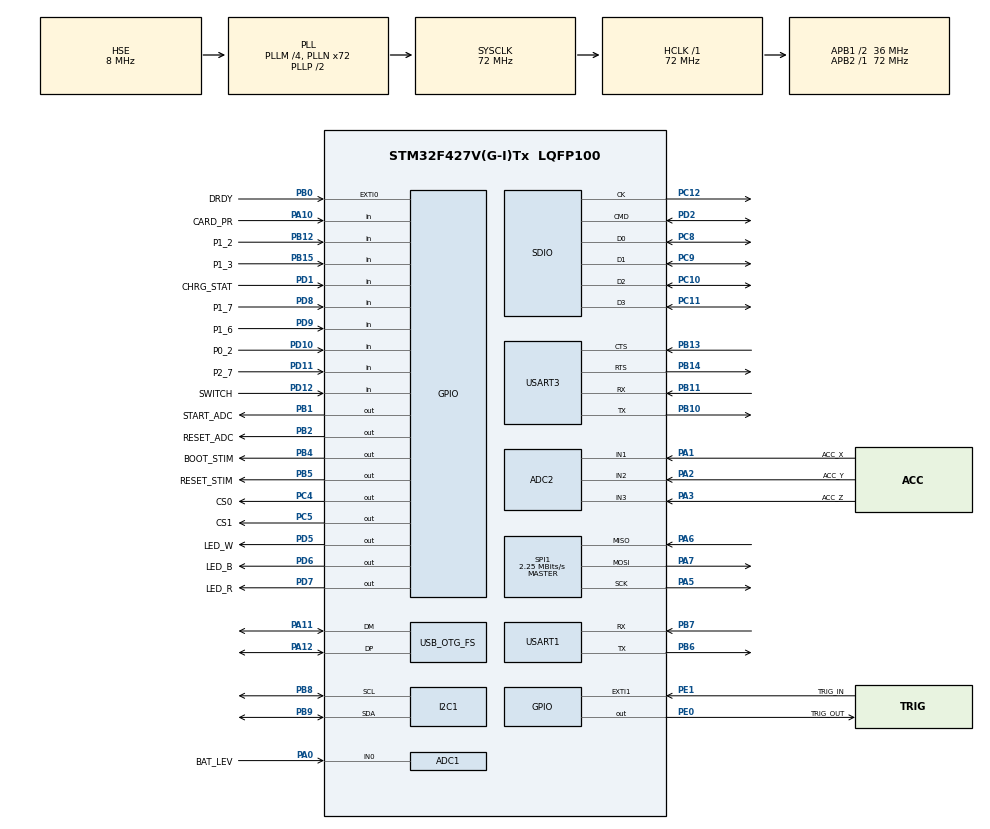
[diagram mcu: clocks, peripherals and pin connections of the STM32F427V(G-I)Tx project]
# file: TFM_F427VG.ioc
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ADC1.Channel-0\#ChannelRegularConversion=ADC_CHANNEL_0
ADC1.ClockPrescaler=ADC_CLOCK_SYNC_PCLK_DIV8
ADC1.ContinuousConvMode=DISABLE
ADC1.DMAContinuousRequests=DISABLE
ADC1.EOCSelection=ADC_EOC_SINGLE_CONV
ADC1.NbrOfConversion=1
ADC1.NbrOfConversionFlag=1
ADC1.Rank-0\#ChannelRegularConversion=1
ADC1.SamplingTime-0\#ChannelRegularConversion=ADC_SAMPLETIME_84CYCLES
ADC1.ScanConvMode=DISABLE
ADC1.master=1
ADC2.Channel-0\#ChannelRegularConversion=ADC_CHANNEL_1
ADC2.Channel-1\#ChannelRegularConversion=ADC_CHANNEL_2
ADC2.Channel-2\#ChannelRegularConversion=ADC_CHANNEL_3
ADC2.ClockPrescaler=ADC_CLOCK_SYNC_PCLK_DIV8
ADC2.DMAContinuousRequests=ENABLE
ADC2.EOCSelection=ADC_EOC_SEQ_CONV
ADC2.ExternalTrigConv=ADC_EXTERNALTRIGCONV_T2_TRGO
ADC2.NbrOfConversion=3
ADC2.NbrOfConversionFlag=1
ADC2.Rank-0\#ChannelRegularConversion=1
ADC2.Rank-1\#ChannelRegularConversion=2
ADC2.Rank-2\#ChannelRegularConversion=3
ADC2.SamplingTime-0\#ChannelRegularConversion=ADC_SAMPLETIME_480CYCLES
ADC2.SamplingTime-1\#ChannelRegularConversion=ADC_SAMPLETIME_480CYCLES
ADC2.SamplingTime-2\#ChannelRegularConversion=ADC_SAMPLETIME_480CYCLES
ADC2.ScanConvMode=ENABLE
Dma.ADC2.3.Direction=DMA_PERIPH_TO_MEMORY
Dma.ADC2.3.FIFOMode=DMA_FIFOMODE_DISABLE
Dma.ADC2.3.Instance=DMA2_Stream2
Dma.ADC2.3.MemDataAlignment=DMA_MDATAALIGN_HALFWORD
Dma.ADC2.3.MemInc=DMA_MINC_ENABLE
Dma.ADC2.3.Mode=DMA_CIRCULAR
Dma.ADC2.3.PeriphDataAlignment=DMA_PDATAALIGN_HALFWORD
Dma.ADC2.3.PeriphInc=DMA_PINC_DISABLE
Dma.ADC2.3.Priority=DMA_PRIORITY_LOW
Dma.Request0=SPI1_TX
Dma.Request1=SDIO
Dma.Request2=SPI1_RX
Dma.Request3=ADC2
Dma.SDIO.1.Direction=DMA_PERIPH_TO_MEMORY
Dma.SDIO.1.FIFOMode=DMA_FIFOMODE_ENABLE
Dma.SDIO.1.FIFOThreshold=DMA_FIFO_THRESHOLD_FULL
Dma.SDIO.1.Instance=DMA2_Stream6
Dma.SDIO.1.MemBurst=DMA_MBURST_INC4
Dma.SDIO.1.MemDataAlignment=DMA_MDATAALIGN_WORD
Dma.SDIO.1.MemInc=DMA_MINC_ENABLE
Dma.SDIO.1.Mode=DMA_PFCTRL
Dma.SDIO.1.PeriphBurst=DMA_PBURST_INC4
Dma.SDIO.1.PeriphDataAlignment=DMA_PDATAALIGN_WORD
Dma.SDIO.1.PeriphInc=DMA_PINC_DISABLE
Dma.SDIO.1.Priority=DMA_PRIORITY_LOW
Dma.SPI1_RX.2.Direction=DMA_PERIPH_TO_MEMORY
Dma.SPI1_RX.2.FIFOMode=DMA_FIFOMODE_DISABLE
Dma.SPI1_RX.2.Instance=DMA2_Stream0
Dma.SPI1_RX.2.MemDataAlignment=DMA_MDATAALIGN_BYTE
Dma.SPI1_RX.2.MemInc=DMA_MINC_ENABLE
Dma.SPI1_RX.2.Mode=DMA_NORMAL
Dma.SPI1_RX.2.PeriphDataAlignment=DMA_PDATAALIGN_BYTE
Dma.SPI1_RX.2.PeriphInc=DMA_PINC_DISABLE
Dma.SPI1_RX.2.Priority=DMA_PRIORITY_LOW
Dma.SPI1_TX.0.Direction=DMA_MEMORY_TO_PERIPH
Dma.SPI1_TX.0.FIFOMode=DMA_FIFOMODE_DISABLE
Dma.SPI1_TX.0.Instance=DMA2_Stream3
Dma.SPI1_TX.0.MemDataAlignment=DMA_MDATAALIGN_BYTE
Dma.SPI1_TX.0.MemInc=DMA_MINC_DISABLE
Dma.SPI1_TX.0.Mode=DMA_NORMAL
Dma.SPI1_TX.0.PeriphDataAlignment=DMA_PDATAALIGN_BYTE
Dma.SPI1_TX.0.PeriphInc=DMA_PINC_DISABLE
Dma.SPI1_TX.0.Priority=DMA_PRIORITY_LOW
FATFS.BSP.number=1
FATFS0.BSP.STBoard=false
FATFS0.BSP.api=Unknown
FATFS0.BSP.instance=PA10
FATFS0.BSP.ip=GPIO
FATFS0.BSP.mode=Input
FATFS0.BSP.name=Detect_SDIO
FATFS0.BSP.solution=PA10
Mcu.Family=STM32F4
Mcu.Name=STM32F427V(G-I)Tx
Mcu.Package=LQFP100
NVIC.DMA2_Stream0_IRQn=true\:0\:0\:false\:false\:true\:false\:true\:true
NVIC.DMA2_Stream2_IRQn=true\:0\:0\:false\:false\:true\:false\:true\:true
NVIC.DMA2_Stream3_IRQn=true\:0\:0\:false\:false\:true\:false\:true\:true
NVIC.DMA2_Stream6_IRQn=true\:0\:0\:false\:false\:true\:false\:true\:true
NVIC.EXTI0_IRQn=true\:2\:0\:true\:false\:true\:true\:true\:true
NVIC.EXTI1_IRQn=true\:0\:0\:false\:false\:true\:true\:true\:true
NVIC.OTG_FS_IRQn=true\:0\:0\:false\:false\:true\:false\:true\:true
NVIC.PriorityGroup=NVIC_PRIORITYGROUP_4
NVIC.TIM7_IRQn=true\:0\:0\:false\:false\:true\:true\:true\:true
PA0/WKUP.GPIO_Label=BAT_LEV
PA0/WKUP.Signal=ADCx_IN0
PA1.GPIO_Label=ACC_X
PA1.Signal=ADCx_IN1
PA10.GPIO_Label=CARD_PR
PA10.Signal=GPIO_Input
PA11.Mode=Device_Only
PA11.Signal=USB_OTG_FS_DM
PA12.Mode=Device_Only
PA12.Signal=USB_OTG_FS_DP
PA13.Mode=Serial_Wire
PA13.Signal=SYS_JTMS-SWDIO
PA14.Mode=Serial_Wire
PA14.Signal=SYS_JTCK-SWCLK
PA2.GPIO_Label=ACC_Y
PA2.Signal=ADCx_IN2
PA3.GPIO_Label=ACC_Z
PA3.Signal=ADCx_IN3
PA5.Mode=Full_Duplex_Master
PA5.Signal=SPI1_SCK
PA6.Mode=Full_Duplex_Master
PA6.Signal=SPI1_MISO
PA7.Mode=Full_Duplex_Master
PA7.Signal=SPI1_MOSI
PB0.GPIO_Label=DRDY
PB0.GPIO_ModeDefaultEXTI=GPIO_MODE_IT_FALLING
PB0.Signal=GPXTI0
PB1.GPIO_Label=START_ADC
PB1.Signal=GPIO_Output
PB10.Mode=Asynchronous
PB10.Signal=USART3_TX
PB11.Mode=Asynchronous
PB11.Signal=USART3_RX
PB12.GPIO_Label=P1_2
PB12.Signal=GPIO_Input
PB13.Mode=CTS_RTS
PB13.Signal=USART3_CTS
PB14.Mode=CTS_RTS
PB14.Signal=USART3_RTS
PB15.GPIO_Label=P1_3
PB15.Signal=GPIO_Input
PB2/BOOT1.GPIO_Label=RESET_ADC
PB2/BOOT1.Signal=GPIO_Output
PB4.GPIO_Label=BOOT_STIM
PB4.Signal=GPIO_Output
PB5.GPIO_Label=RESET_STIM
PB5.Signal=GPIO_Output
PB6.Mode=Asynchronous
PB6.Signal=USART1_TX
PB7.Mode=Asynchronous
PB7.Signal=USART1_RX
PB8.GPIO_Pu=GPIO_PULLUP
PB8.Mode=I2C
PB8.Signal=I2C1_SCL
PB9.GPIO_Pu=GPIO_PULLUP
PB9.Mode=I2C
PB9.Signal=I2C1_SDA
PC10.Mode=SD_4_bits_Wide_bus
PC10.Signal=SDIO_D2
PC11.Mode=SD_4_bits_Wide_bus
PC11.Signal=SDIO_D3
PC12.Mode=SD_4_bits_Wide_bus
PC12.Signal=SDIO_CK
PC14/OSC32_IN.Mode=LSE-External-Oscillator
PC14/OSC32_IN.Signal=RCC_OSC32_IN
PC15/OSC32_OUT.Mode=LSE-External-Oscillator
PC15/OSC32_OUT.Signal=RCC_OSC32_OUT
PC4.GPIO_Label=CS0
PC4.PinState=GPIO_PIN_SET
PC4.Signal=GPIO_Output
PC5.GPIO_Label=CS1
PC5.PinState=GPIO_PIN_SET
PC5.Signal=GPIO_Output
PC8.Mode=SD_4_bits_Wide_bus
PC8.Signal=SDIO_D0
PC9.Mode=SD_4_bits_Wide_bus
PC9.Signal=SDIO_D1
PD1.GPIO_Label=CHRG_STAT
PD1.Signal=GPIO_Input
PD10.GPIO_Label=P0_2
PD10.Signal=GPIO_Input
PD11.GPIO_Label=P2_7
PD11.Signal=GPIO_Input
PD12.GPIO_Label=SWITCH
PD12.Signal=GPIO_Input
PD2.Mode=SD_4_bits_Wide_bus
PD2.Signal=SDIO_CMD
PD5.GPIO_Label=LED_W
PD5.Signal=GPIO_Output
PD6.GPIO_Label=LED_B
PD6.Signal=GPIO_Output
PD7.GPIO_Label=LED_R
PD7.Signal=GPIO_Output
PD8.GPIO_Label=P1_7
PD8.Signal=GPIO_Input
PD9.GPIO_Label=P1_6
PD9.Signal=GPIO_Input
PE0.GPIO_Label=TRIG_OUT
PE0.Signal=GPIO_Output
PE1.GPIO_Label=TRIG_IN
PE1.GPIO_ModeDefaultEXTI=GPIO_MODE_IT_RISING
PE1.Signal=GPXTI1
PH0/OSC_IN.Mode=HSE-External-Oscillator
PH0/OSC_IN.Signal=RCC_OSC_IN
PH1/OSC_OUT.Mode=HSE-External-Oscillator
PH1/OSC_OUT.Signal=RCC_OSC_OUT
ProjectManager.HeapSize=0x2000
ProjectManager.StackSize=0x4000
ProjectManager.TargetToolchain=STM32CubeIDE
RCC.48MHZClocksFreq_Value=48000000
RCC.AHBFreq_Value=72000000
RCC.APB1CLKDivider=RCC_HCLK_DIV2
RCC.APB1Freq_Value=36000000
RCC.APB1TimFreq_Value=72000000
RCC.APB2Freq_Value=72000000
RCC.APB2TimFreq_Value=72000000
RCC.CortexFreq_Value=72000000
RCC.HCLKFreq_Value=72000000
RCC.HSE_VALUE=8000000
RCC.HSI_VALUE=16000000
RCC.PLLM=4
RCC.PLLN=72
RCC.PLLQ=3
RCC.SYSCLKFreq_VALUE=72000000
RCC.SYSCLKSource=RCC_SYSCLKSOURCE_PLLCLK
RCC.VCOOutputFreq_Value=144000000
SDIO.ClockDiv=3
SH.ADCx_IN0.0=ADC1_IN0,IN0
SH.ADCx_IN1.0=ADC2_IN1,IN1
SH.ADCx_IN2.0=ADC2_IN2,IN2
SH.ADCx_IN3.0=ADC2_IN3,IN3
SPI1.BaudRatePrescaler=SPI_BAUDRATEPRESCALER_32
SPI1.CLKPhase=SPI_PHASE_2EDGE
SPI1.CalculateBaudRate=2.25 MBits/s
SPI1.Direction=SPI_DIRECTION_2LINES
SPI1.Mode=SPI_MODE_MASTER
SPI1.VirtualType=VM_MASTER
STMicroelectronics.X-CUBE-ALGOBUILD.1.4.0.LibraryCcDSPOoLibraryJjDSPOoLibrary=true
TIM2.Period=9
TIM2.Prescaler=28124
TIM2.TIM_MasterOutputTrigger=TIM_TRGO_UPDATE
TIM7.AutoReloadPreload=TIM_AUTORELOAD_PRELOAD_ENABLE
TIM7.Period=249
TIM7.Prescaler=1439
USART1.VirtualMode=VM_ASYNC
USART3.VirtualMode=VM_ASYNC
USB_DEVICE.CLASS_NAME_FS=CDC
USB_DEVICE.VirtualMode-CDC_FS=Cdc
USB_DEVICE.VirtualModeFS=Cdc_FS
USB_OTG_FS.VirtualMode=Device_Only
VP_FATFS_VS_SDIO.Mode=SDIO
VP_STMicroelectronics.X-CUBE-ALGOBUILD_VS_DSPOoLibraryJjLibrary_1.4.0_1.4.0.Mode=DSPOoLibraryJjLibrary
VP_TIM2_VS_ClockSourceINT.Mode=Internal
VP_TIM7_VS_ClockSourceINT.Mode=Enable_Timer
VP_USB_DEVICE_VS_USB_DEVICE_CDC_FS.Mode=CDC_FS
board=custom

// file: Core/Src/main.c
/* USER CODE BEGIN Header */
/**
  ******************************************************************************
  * @file           : main.c
  * @brief          : Main program body
  ******************************************************************************
  * @attention
  *
  * Copyright (c) 2025 STMicroelectronics.
  * All rights reserved.
  *
  * This software is licensed under terms that can be found in the LICENSE file
  * in the root directory of this software component.
  * If no LICENSE file comes with this software, it is provided AS-IS.
  *
  ******************************************************************************
  */
/* USER CODE END Header */
#include "main.h"
#include "fatfs.h"
#include "usb_device.h"

/* USER CODE BEGIN Includes */
#include <stdio.h> //para sprintf
#include <string.h> // para strlen
#include "usbd_cdc_if.h"
#include "arm_math.h"
/* USER CODE END Includes */

/* USER CODE BEGIN PD */
#define ADC_FREQ 256UL //frecuencia de muestreo del ADC disparado por el TIMER2 (APB1/PSC_TIM2/ARR)

#define ADC_BUFFER_SIZE 6UL //tamaño del buffer de ADC-DMA, modificándolo cambio la frecuencia de procesamiento

#define PSD_TIME 1UL //Tiempo máximo durante el que puedo almacenar muestras (configurable) para hacer la PSD

#define BUFFER_SIZE (ADC_FREQ*PSD_TIME)

#define FFT_SIZE 256UL

#define SLIDING_WINDOW_SIZE 4

///////////////////////////////////////////////////////////////////////////////////////////

#define	STIM_TYPE_CH_DEF	0x10
#define	STIM_AMPLIT_DEF		0x80
#define	STIM_DURATION_DEF	0xC0

#define	POSITIVE			0x20
#define	NEGATIVE			0x40
#define	BIPHASIC			0x60

#define STIM_AMP_4mA 		8 //Consultar valores en tabla en Stimulator.c (StimEAST) o en doc EAST UART Comm protocol
#define STIM_AMP_4_5mA 		9
#define STIM_AMP_5mA 		10
#define STIM_AMP_5_5mA 		11
#define STIM_AMP_6mA 		12
#define STIM_AMP_6_5mA 		13
#define STIM_AMP_7mA 		14
#define STIM_AMP_7_5mA 		15
#define STIM_AMP_8mA 		16
#define STIM_AMP_8_5mA 		17
#define STIM_AMP_9mA 		18
#define STIM_AMP_9_5mA 		19
#define STIM_AMP_10mA 		20
#define STIM_AMP_10_5mA 	21
#define STIM_AMP_11mA 		22
#define STIM_AMP_11_5mA 	23
#define STIM_AMP_12mA 		24
#define STIM_AMP_12_5mA 	25
#define STIM_AMP_13mA 		26

#define STIM_DURATION_400US 13 //Consultar valores en tabla en Stimulator.c (StimEAST) o en doc EAST UART Comm protocol

#define	RESET_STIM 	HAL_GPIO_WritePin(RESET_STIM_GPIO_Port, RESET_STIM_Pin, 0)
#define	NO_RST_STIM HAL_GPIO_WritePin(RESET_STIM_GPIO_Port, RESET_STIM_Pin, 1)

#define CRG_STAT		HAL_GPIO_ReadPin(CHRG_STAT_GPIO_Port, CHRG_STAT_Pin)

#define	LEDB_ON		HAL_GPIO_WritePin(LED_B_GPIO_Port, LED_B_Pin, 1)
#define	LEDB_OFF	HAL_GPIO_WritePin(LED_B_GPIO_Port, LED_B_Pin, 0)

#define	LEDW_ON		HAL_GPIO_WritePin(LED_W_GPIO_Port, LED_W_Pin, 1)
#define	LEDW_OFF	HAL_GPIO_WritePin(LED_W_GPIO_Port, LED_W_Pin, 0)

#define	LEDR_ON		HAL_GPIO_WritePin(LED_R_GPIO_Port, LED_R_Pin, 1)
#define	LEDR_OFF	HAL_GPIO_WritePin(LED_R_GPIO_Port, LED_R_Pin, 0)
#define LED_RED_IS_ON	HAL_GPIO_ReadPin(LED_R_GPIO_Port, LED_R_Pin)

#define    SET_TRIG_OUT    HAL_GPIO_WritePin(TRIG_OUT_GPIO_Port, TRIG_OUT_Pin, 1)
#define    RES_TRIG_OUT    HAL_GPIO_WritePin(TRIG_OUT_GPIO_Port, TRIG_OUT_Pin, 0)

#define SWITCH			HAL_GPIO_ReadPin(SWITCH_GPIO_Port, SWITCH_Pin)

#define	READ_INPUTS_INTERVAL	100			// Interval between reads of the inputs in ms
#define	BATT_CRG_BLK_INTERVAL	500			// Blinking time when the battery is charging in ms
#define BATT_LEV_READ_INTERVAL	1000		// Interval between reads of the battery level in ms

#define	LOW_BATTERY			800

/* USER CODE END PD */

ADC_HandleTypeDef hadc1;
ADC_HandleTypeDef hadc2;
DMA_HandleTypeDef hdma_adc2;

I2C_HandleTypeDef hi2c1;

SD_HandleTypeDef hsd;
DMA_HandleTypeDef hdma_sdio;

SPI_HandleTypeDef hspi1;
DMA_HandleTypeDef hdma_spi1_tx;
DMA_HandleTypeDef hdma_spi1_rx;

TIM_HandleTypeDef htim2;
TIM_HandleTypeDef htim7;

UART_HandleTypeDef huart1;
UART_HandleTypeDef huart3;

/* USER CODE BEGIN PV */
uint16_t accel_adc_buffer[ADC_BUFFER_SIZE];

volatile uint8_t ADC_DMA_transfer_cmplt = 0;
volatile uint8_t ADC_DMA_transfer_half = 0;

float x_accel[BUFFER_SIZE];
float y_accel[BUFFER_SIZE];
float z_accel[BUFFER_SIZE];
uint16_t idx = 0;

const float vref = 3.3; // (accel Vref = 3.3 V)
const uint16_t adc_res = 4095; // (2^12 - 1)
const float zero_ref = 1.65; //(1.65 V)
const float adxl335_precission = 0.33; // (Volts/g)

//char uart_tx_buffer[160];

float32_t fft_output[FFT_SIZE];
const float freq_res = ((float)ADC_FREQ) / FFT_SIZE; // resolución en Hz
const uint16_t k_low = (uint16_t)(4.0f / freq_res + 0.5f);
const uint16_t k_high = (uint16_t)(12.0f / freq_res + 0.5f);

arm_rfft_fast_instance_f32 S_rfft; // instancia reutilizable
float32_t rfft_in[FFT_SIZE];
float32_t rfft_out[FFT_SIZE];
const float32_t hann_U = 0.375f; // Σw²/N de una ventana Hann (coeficiente de tabla)
float32_t thPSD = 0.15;   // umbral → calibrar con datos reales

float32_t energy = 0.0f;

uint8_t tremor = 0;

volatile uint8_t user_button_flag = 0;
uint32_t last_exti_time = 0;
const uint8_t debounce_delay = 50; // 50 ms de antirrebote

typedef enum { FLAT = 0, POS = 1, NEG = 2 } slope_t;
slope_t slope = FLAT, prev_slope = FLAT;

const float TH0_POS = 0.095;
const float TH0_NEG = -0.095;
float der = 0;

uint8_t stim_flag = 0;
uint8_t stim_array_info[BUFFER_SIZE] = {0}; //array para enviar por USB y comprobar que estimulo como quiero

///////////////////////////////////////////////////////////////////////////////////////////////

const uint8_t StimType = BIPHASIC;		// Stimulation type (positive, negative or biphasic)

const uint8_t StimAmp_aux[2] = {STIM_AMP_6_5mA, STIM_AMP_5_5mA}; //0 - 20 mA
uint8_t StimAmp[2] = {0, 0}; //StimAmp[0] = EXT StimAmp[1] = FLEX

const uint8_t StimDur = STIM_DURATION_400US;

uint8_t		Time2ReadInputs = 0;		// Flag, is it time to read the inputs?
uint8_t		Time2ReadBatLev	= 0;		// Flag, is it time to read the battery level?
uint8_t 	BatteryCharging = 0;		// Flag, the battery is recharging
uint8_t		LowBattery = 0;				// Flag, the battery is low

uint32_t	ADConv;		// Result of ADC1 conversion (battery)

/* USER CODE END PV */

void SystemClock_Config(void);
static void MX_GPIO_Init(void);
static void MX_DMA_Init(void);
static void MX_I2C1_Init(void);
static void MX_SDIO_SD_Init(void);
static void MX_SPI1_Init(void);
static void MX_USART1_UART_Init(void);
static void MX_USART3_UART_Init(void);
static void MX_ADC1_Init(void);
static void MX_TIM7_Init(void);
static void MX_ADC2_Init(void);
static void MX_TIM2_Init(void);
/* USER CODE BEGIN PFP */
void GetAccel(void);
void CheckStim(void);
void ComputePSD(void);
void SendUSB(void);
void ReadInputs(void);
void ReadBatteryLev(void);
/* USER CODE END PFP */

int main(void)
{

  /* MCU Configuration--------------------------------------------------------*/

  /* Reset of all peripherals, Initializes the Flash interface and the Systick. */
  HAL_Init();

  /* Configure the system clock */
  SystemClock_Config();

  /* Initialize all configured peripherals */
  MX_GPIO_Init();
  MX_DMA_Init();
  MX_I2C1_Init();
  MX_SDIO_SD_Init();
  MX_SPI1_Init();
  MX_USART1_UART_Init();
  MX_USART3_UART_Init();
  MX_ADC1_Init();
  MX_TIM7_Init();
  MX_FATFS_Init();
  MX_USB_DEVICE_Init();
  MX_ADC2_Init();
  MX_TIM2_Init();
  /* USER CODE BEGIN 2 */
  //__HAL_DMA_DISABLE_IT(hdma_adc2, DMA_IT_TC); //Disable Transfer Complete interrupt for adc2
  //__HAL_DMA_DISABLE_IT(hdma_adc2, DMA_IT_HC); //Disable Half Transfer Complete interrupt for adc2

  LEDW_ON;

  NO_RST_STIM; //PB5 RESET DE LA STIM (LÓGICA NEGADA)

  HAL_TIM_Base_Start(&htim2);

  //HAL_ADC_Start(&hadc1);
  //HAL_ADC_Start_DMA(&hadc2, (uint32_t*)accel_adc_buffer, ADC_BUFFER_SIZE); //accel_adc_buffer works as a pointer to the address of the first position of the accel_adc_buffer[] array

  arm_rfft_fast_init_f32(&S_rfft, FFT_SIZE);

  /* USER CODE END 2 */

  /* Infinite loop */
  /* USER CODE BEGIN WHILE */
  while (1)
  {
	  if(user_button_flag == 1){

		  if(ADC_DMA_transfer_half == 1){

			  GetAccel();

			  if(tremor == 1){
				  CheckStim();
			  }

			  stim_array_info[idx] = stim_flag;

			  idx ++;

			  SendUSB();

			  if(idx >= BUFFER_SIZE){
				  idx = 0;
				  ComputePSD();
			  }
		  }

		  if(ADC_DMA_transfer_cmplt == 1){

			  GetAccel();

			  if(tremor == 1){
				  CheckStim();
			  }

			  stim_array_info[idx] = stim_flag;

			  idx ++;

			  SendUSB();

			  if(idx >= BUFFER_SIZE){
				  idx = 0;
				  ComputePSD();
			  }

		  }
	  }

			if(Time2ReadInputs){
				ReadInputs();
				Time2ReadInputs = 0;
			}

			if(Time2ReadBatLev){
				ReadBatteryLev();
				Time2ReadBatLev = 0;
			}

/*
			if(TrigInSet){
				// Do something when the TRIG_IN is set
				TrigInSet = 0;
			}
*/

    /* USER CODE END WHILE */

  }
}

void SystemClock_Config(void)
{
  RCC_OscInitTypeDef RCC_OscInitStruct = {0};
  RCC_ClkInitTypeDef RCC_ClkInitStruct = {0};

  /** Configure the main internal regulator output voltage
  */
  __HAL_RCC_PWR_CLK_ENABLE();
  __HAL_PWR_VOLTAGESCALING_CONFIG(PWR_REGULATOR_VOLTAGE_SCALE3);

  /** Initializes the RCC Oscillators according to the specified parameters
  * in the RCC_OscInitTypeDef structure.
  */
  RCC_OscInitStruct.OscillatorType = RCC_OSCILLATORTYPE_HSE;
  RCC_OscInitStruct.HSEState = RCC_HSE_ON;
  RCC_OscInitStruct.PLL.PLLState = RCC_PLL_ON;
  RCC_OscInitStruct.PLL.PLLSource = RCC_PLLSOURCE_HSE;
  RCC_OscInitStruct.PLL.PLLM = 4;
  RCC_OscInitStruct.PLL.PLLN = 72;
  RCC_OscInitStruct.PLL.PLLP = RCC_PLLP_DIV2;
  RCC_OscInitStruct.PLL.PLLQ = 3;
  if (HAL_RCC_OscConfig(&RCC_OscInitStruct) != HAL_OK)
  {
    Error_Handler();
  }

  /** Initializes the CPU, AHB and APB buses clocks
  */
  RCC_ClkInitStruct.ClockType = RCC_CLOCKTYPE_HCLK|RCC_CLOCKTYPE_SYSCLK
                              |RCC_CLOCKTYPE_PCLK1|RCC_CLOCKTYPE_PCLK2;
  RCC_ClkInitStruct.SYSCLKSource = RCC_SYSCLKSOURCE_PLLCLK;
  RCC_ClkInitStruct.AHBCLKDivider = RCC_SYSCLK_DIV1;
  RCC_ClkInitStruct.APB1CLKDivider = RCC_HCLK_DIV2;
  RCC_ClkInitStruct.APB2CLKDivider = RCC_HCLK_DIV1;

  if (HAL_RCC_ClockConfig(&RCC_ClkInitStruct, FLASH_LATENCY_2) != HAL_OK)
  {
    Error_Handler();
  }
}

static void MX_ADC1_Init(void)
{

  ADC_ChannelConfTypeDef sConfig = {0};

  /** Configure the global features of the ADC (Clock, Resolution, Data Alignment and number of conversion)
  */
  hadc1.Instance = ADC1;
  hadc1.Init.ClockPrescaler = ADC_CLOCK_SYNC_PCLK_DIV8;
  hadc1.Init.Resolution = ADC_RESOLUTION_12B;
  hadc1.Init.ScanConvMode = DISABLE;
  hadc1.Init.ContinuousConvMode = DISABLE;
  hadc1.Init.DiscontinuousConvMode = DISABLE;
  hadc1.Init.ExternalTrigConvEdge = ADC_EXTERNALTRIGCONVEDGE_NONE;
  hadc1.Init.ExternalTrigConv = ADC_SOFTWARE_START;
  hadc1.Init.DataAlign = ADC_DATAALIGN_RIGHT;
  hadc1.Init.NbrOfConversion = 1;
  hadc1.Init.DMAContinuousRequests = DISABLE;
  hadc1.Init.EOCSelection = ADC_EOC_SINGLE_CONV;
  if (HAL_ADC_Init(&hadc1) != HAL_OK)
  {
    Error_Handler();
  }

  /** Configure for the selected ADC regular channel its corresponding rank in the sequencer and its sample time.
  */
  sConfig.Channel = ADC_CHANNEL_0;
  sConfig.Rank = 1;
  sConfig.SamplingTime = ADC_SAMPLETIME_84CYCLES;
  if (HAL_ADC_ConfigChannel(&hadc1, &sConfig) != HAL_OK)
  {
    Error_Handler();
  }

}

static void MX_ADC2_Init(void)
{

  ADC_ChannelConfTypeDef sConfig = {0};

  /** Configure the global features of the ADC (Clock, Resolution, Data Alignment and number of conversion)
  */
  hadc2.Instance = ADC2;
  hadc2.Init.ClockPrescaler = ADC_CLOCK_SYNC_PCLK_DIV8;
  hadc2.Init.Resolution = ADC_RESOLUTION_12B;
  hadc2.Init.ScanConvMode = ENABLE;
  hadc2.Init.ContinuousConvMode = DISABLE;
  hadc2.Init.DiscontinuousConvMode = DISABLE;
  hadc2.Init.ExternalTrigConvEdge = ADC_EXTERNALTRIGCONVEDGE_RISING;
  hadc2.Init.ExternalTrigConv = ADC_EXTERNALTRIGCONV_T2_TRGO;
  hadc2.Init.DataAlign = ADC_DATAALIGN_RIGHT;
  hadc2.Init.NbrOfConversion = 3;
  hadc2.Init.DMAContinuousRequests = ENABLE;
  hadc2.Init.EOCSelection = ADC_EOC_SEQ_CONV;
  if (HAL_ADC_Init(&hadc2) != HAL_OK)
  {
    Error_Handler();
  }

  /** Configure for the selected ADC regular channel its corresponding rank in the sequencer and its sample time.
  */
  sConfig.Channel = ADC_CHANNEL_1;
  sConfig.Rank = 1;
  sConfig.SamplingTime = ADC_SAMPLETIME_480CYCLES;
  if (HAL_ADC_ConfigChannel(&hadc2, &sConfig) != HAL_OK)
  {
    Error_Handler();
  }

  /** Configure for the selected ADC regular channel its corresponding rank in the sequencer and its sample time.
  */
  sConfig.Channel = ADC_CHANNEL_2;
  sConfig.Rank = 2;
  if (HAL_ADC_ConfigChannel(&hadc2, &sConfig) != HAL_OK)
  {
    Error_Handler();
  }

  /** Configure for the selected ADC regular channel its corresponding rank in the sequencer and its sample time.
  */
  sConfig.Channel = ADC_CHANNEL_3;
  sConfig.Rank = 3;
  if (HAL_ADC_ConfigChannel(&hadc2, &sConfig) != HAL_OK)
  {
    Error_Handler();
  }

}

static void MX_I2C1_Init(void)
{

  hi2c1.Instance = I2C1;
  hi2c1.Init.ClockSpeed = 100000;
  hi2c1.Init.DutyCycle = I2C_DUTYCYCLE_2;
  hi2c1.Init.OwnAddress1 = 0;
  hi2c1.Init.AddressingMode = I2C_ADDRESSINGMODE_7BIT;
  hi2c1.Init.DualAddressMode = I2C_DUALADDRESS_DISABLE;
  hi2c1.Init.OwnAddress2 = 0;
  hi2c1.Init.GeneralCallMode = I2C_GENERALCALL_DISABLE;
  hi2c1.Init.NoStretchMode = I2C_NOSTRETCH_DISABLE;
  if (HAL_I2C_Init(&hi2c1) != HAL_OK)
  {
    Error_Handler();
  }

  /** Configure Analogue filter
  */
  if (HAL_I2CEx_ConfigAnalogFilter(&hi2c1, I2C_ANALOGFILTER_ENABLE) != HAL_OK)
  {
    Error_Handler();
  }

  /** Configure Digital filter
  */
  if (HAL_I2CEx_ConfigDigitalFilter(&hi2c1, 0) != HAL_OK)
  {
    Error_Handler();
  }

}

static void MX_SDIO_SD_Init(void)
{

  hsd.Instance = SDIO;
  hsd.Init.ClockEdge = SDIO_CLOCK_EDGE_RISING;
  hsd.Init.ClockBypass = SDIO_CLOCK_BYPASS_DISABLE;
  hsd.Init.ClockPowerSave = SDIO_CLOCK_POWER_SAVE_DISABLE;
  hsd.Init.BusWide = SDIO_BUS_WIDE_4B;
  hsd.Init.HardwareFlowControl = SDIO_HARDWARE_FLOW_CONTROL_DISABLE;
  hsd.Init.ClockDiv = 3;

}

static void MX_SPI1_Init(void)
{

  /* SPI1 parameter configuration*/
  hspi1.Instance = SPI1;
  hspi1.Init.Mode = SPI_MODE_MASTER;
  hspi1.Init.Direction = SPI_DIRECTION_2LINES;
  hspi1.Init.DataSize = SPI_DATASIZE_8BIT;
  hspi1.Init.CLKPolarity = SPI_POLARITY_LOW;
  hspi1.Init.CLKPhase = SPI_PHASE_2EDGE;
  hspi1.Init.NSS = SPI_NSS_SOFT;
  hspi1.Init.BaudRatePrescaler = SPI_BAUDRATEPRESCALER_32;
  hspi1.Init.FirstBit = SPI_FIRSTBIT_MSB;
  hspi1.Init.TIMode = SPI_TIMODE_DISABLE;
  hspi1.Init.CRCCalculation = SPI_CRCCALCULATION_DISABLE;
  hspi1.Init.CRCPolynomial = 10;
  if (HAL_SPI_Init(&hspi1) != HAL_OK)
  {
    Error_Handler();
  }

}

static void MX_TIM2_Init(void)
{

  TIM_ClockConfigTypeDef sClockSourceConfig = {0};
  TIM_MasterConfigTypeDef sMasterConfig = {0};

  htim2.Instance = TIM2;
  htim2.Init.Prescaler = 28124;
  htim2.Init.CounterMode = TIM_COUNTERMODE_UP;
  htim2.Init.Period = 9;
  htim2.Init.ClockDivision = TIM_CLOCKDIVISION_DIV1;
  htim2.Init.AutoReloadPreload = TIM_AUTORELOAD_PRELOAD_DISABLE;
  if (HAL_TIM_Base_Init(&htim2) != HAL_OK)
  {
    Error_Handler();
  }
  sClockSourceConfig.ClockSource = TIM_CLOCKSOURCE_INTERNAL;
  if (HAL_TIM_ConfigClockSource(&htim2, &sClockSourceConfig) != HAL_OK)
  {
    Error_Handler();
  }
  sMasterConfig.MasterOutputTrigger = TIM_TRGO_UPDATE;
  sMasterConfig.MasterSlaveMode = TIM_MASTERSLAVEMODE_DISABLE;
  if (HAL_TIMEx_MasterConfigSynchronization(&htim2, &sMasterConfig) != HAL_OK)
  {
    Error_Handler();
  }

}

static void MX_TIM7_Init(void)
{

  TIM_MasterConfigTypeDef sMasterConfig = {0};

  htim7.Instance = TIM7;
  htim7.Init.Prescaler = 1439;
  htim7.Init.CounterMode = TIM_COUNTERMODE_UP;
  htim7.Init.Period = 249;
  htim7.Init.AutoReloadPreload = TIM_AUTORELOAD_PRELOAD_ENABLE;
  if (HAL_TIM_Base_Init(&htim7) != HAL_OK)
  {
    Error_Handler();
  }
  sMasterConfig.MasterOutputTrigger = TIM_TRGO_RESET;
  sMasterConfig.MasterSlaveMode = TIM_MASTERSLAVEMODE_DISABLE;
  if (HAL_TIMEx_MasterConfigSynchronization(&htim7, &sMasterConfig) != HAL_OK)
  {
    Error_Handler();
  }

}

static void MX_USART1_UART_Init(void)
{

  huart1.Instance = USART1;
  huart1.Init.BaudRate = 115200;
  huart1.Init.WordLength = UART_WORDLENGTH_8B;
  huart1.Init.StopBits = UART_STOPBITS_1;
  huart1.Init.Parity = UART_PARITY_NONE;
  huart1.Init.Mode = UART_MODE_TX_RX;
  huart1.Init.HwFlowCtl = UART_HWCONTROL_NONE;
  huart1.Init.OverSampling = UART_OVERSAMPLING_16;
  if (HAL_UART_Init(&huart1) != HAL_OK)
  {
    Error_Handler();
  }

}

static void MX_USART3_UART_Init(void)
{

  huart3.Instance = USART3;
  huart3.Init.BaudRate = 115200;
  huart3.Init.WordLength = UART_WORDLENGTH_8B;
  huart3.Init.StopBits = UART_STOPBITS_1;
  huart3.Init.Parity = UART_PARITY_NONE;
  huart3.Init.Mode = UART_MODE_TX_RX;
  huart3.Init.HwFlowCtl = UART_HWCONTROL_RTS_CTS;
  huart3.Init.OverSampling = UART_OVERSAMPLING_16;
  if (HAL_UART_Init(&huart3) != HAL_OK)
  {
    Error_Handler();
  }

}

static void MX_DMA_Init(void)
{

  /* DMA controller clock enable */
  __HAL_RCC_DMA2_CLK_ENABLE();

  /* DMA interrupt init */
  /* DMA2_Stream0_IRQn interrupt configuration */
  HAL_NVIC_SetPriority(DMA2_Stream0_IRQn, 0, 0);
  HAL_NVIC_EnableIRQ(DMA2_Stream0_IRQn);
  /* DMA2_Stream2_IRQn interrupt configuration */
  HAL_NVIC_SetPriority(DMA2_Stream2_IRQn, 0, 0);
  HAL_NVIC_EnableIRQ(DMA2_Stream2_IRQn);
  /* DMA2_Stream3_IRQn interrupt configuration */
  HAL_NVIC_SetPriority(DMA2_Stream3_IRQn, 0, 0);
  HAL_NVIC_EnableIRQ(DMA2_Stream3_IRQn);
  /* DMA2_Stream6_IRQn interrupt configuration */
  HAL_NVIC_SetPriority(DMA2_Stream6_IRQn, 0, 0);
  HAL_NVIC_EnableIRQ(DMA2_Stream6_IRQn);

}

static void MX_GPIO_Init(void)
{
  GPIO_InitTypeDef GPIO_InitStruct = {0};

  /* GPIO Ports Clock Enable */
  __HAL_RCC_GPIOC_CLK_ENABLE();
  __HAL_RCC_GPIOH_CLK_ENABLE();
  __HAL_RCC_GPIOA_CLK_ENABLE();
  __HAL_RCC_GPIOB_CLK_ENABLE();
  __HAL_RCC_GPIOD_CLK_ENABLE();
  __HAL_RCC_GPIOE_CLK_ENABLE();

  /*Configure GPIO pin Output Level */
  HAL_GPIO_WritePin(GPIOC, CS0_Pin|CS1_Pin, GPIO_PIN_SET);

  /*Configure GPIO pin Output Level */
  HAL_GPIO_WritePin(GPIOB, START_ADC_Pin|RESET_ADC_Pin|BOOT_STIM_Pin|RESET_STIM_Pin, GPIO_PIN_RESET);

  /*Configure GPIO pin Output Level */
  HAL_GPIO_WritePin(GPIOD, LED_W_Pin|LED_B_Pin|LED_R_Pin, GPIO_PIN_RESET);

  /*Configure GPIO pin Output Level */
  HAL_GPIO_WritePin(TRIG_OUT_GPIO_Port, TRIG_OUT_Pin, GPIO_PIN_RESET);

  /*Configure GPIO pins : CS0_Pin CS1_Pin */
  GPIO_InitStruct.Pin = CS0_Pin|CS1_Pin;
  GPIO_InitStruct.Mode = GPIO_MODE_OUTPUT_PP;
  GPIO_InitStruct.Pull = GPIO_NOPULL;
  GPIO_InitStruct.Speed = GPIO_SPEED_FREQ_LOW;
  HAL_GPIO_Init(GPIOC, &GPIO_InitStruct);

  /*Configure GPIO pin : DRDY_Pin */
  GPIO_InitStruct.Pin = DRDY_Pin;
  GPIO_InitStruct.Mode = GPIO_MODE_IT_FALLING;
  GPIO_InitStruct.Pull = GPIO_NOPULL;
  HAL_GPIO_Init(DRDY_GPIO_Port, &GPIO_InitStruct);

  /*Configure GPIO pins : START_ADC_Pin RESET_ADC_Pin BOOT_STIM_Pin RESET_STIM_Pin */
  GPIO_InitStruct.Pin = START_ADC_Pin|RESET_ADC_Pin|BOOT_STIM_Pin|RESET_STIM_Pin;
  GPIO_InitStruct.Mode = GPIO_MODE_OUTPUT_PP;
  GPIO_InitStruct.Pull = GPIO_NOPULL;
  GPIO_InitStruct.Speed = GPIO_SPEED_FREQ_LOW;
  HAL_GPIO_Init(GPIOB, &GPIO_InitStruct);

  /*Configure GPIO pins : P1_2_Pin P1_3_Pin */
  GPIO_InitStruct.Pin = P1_2_Pin|P1_3_Pin;
  GPIO_InitStruct.Mode = GPIO_MODE_INPUT;
  GPIO_InitStruct.Pull = GPIO_NOPULL;
  HAL_GPIO_Init(GPIOB, &GPIO_InitStruct);

  /*Configure GPIO pins : P1_7_Pin P1_6_Pin P0_2_Pin P2_7_Pin
                           SWITCH_Pin CHRG_STAT_Pin */
  GPIO_InitStruct.Pin = P1_7_Pin|P1_6_Pin|P0_2_Pin|P2_7_Pin
                          |SWITCH_Pin|CHRG_STAT_Pin;
  GPIO_InitStruct.Mode = GPIO_MODE_INPUT;
  GPIO_InitStruct.Pull = GPIO_NOPULL;
  HAL_GPIO_Init(GPIOD, &GPIO_InitStruct);

  /*Configure GPIO pin : CARD_PR_Pin */
  GPIO_InitStruct.Pin = CARD_PR_Pin;
  GPIO_InitStruct.Mode = GPIO_MODE_INPUT;
  GPIO_InitStruct.Pull = GPIO_NOPULL;
  HAL_GPIO_Init(CARD_PR_GPIO_Port, &GPIO_InitStruct);

  /*Configure GPIO pins : LED_W_Pin LED_B_Pin LED_R_Pin */
  GPIO_InitStruct.Pin = LED_W_Pin|LED_B_Pin|LED_R_Pin;
  GPIO_InitStruct.Mode = GPIO_MODE_OUTPUT_PP;
  GPIO_InitStruct.Pull = GPIO_NOPULL;
  GPIO_InitStruct.Speed = GPIO_SPEED_FREQ_LOW;
  HAL_GPIO_Init(GPIOD, &GPIO_InitStruct);

  /*Configure GPIO pin : TRIG_OUT_Pin */
  GPIO_InitStruct.Pin = TRIG_OUT_Pin;
  GPIO_InitStruct.Mode = GPIO_MODE_OUTPUT_PP;
  GPIO_InitStruct.Pull = GPIO_NOPULL;
  GPIO_InitStruct.Speed = GPIO_SPEED_FREQ_LOW;
  HAL_GPIO_Init(TRIG_OUT_GPIO_Port, &GPIO_InitStruct);

  /*Configure GPIO pin : TRIG_IN_Pin */
  GPIO_InitStruct.Pin = TRIG_IN_Pin;
  GPIO_InitStruct.Mode = GPIO_MODE_IT_RISING;
  GPIO_InitStruct.Pull = GPIO_NOPULL;
  HAL_GPIO_Init(TRIG_IN_GPIO_Port, &GPIO_InitStruct);

  /* EXTI interrupt init*/
  HAL_NVIC_SetPriority(EXTI0_IRQn, 2, 0);
  HAL_NVIC_EnableIRQ(EXTI0_IRQn);

  HAL_NVIC_SetPriority(EXTI1_IRQn, 0, 0);
  HAL_NVIC_EnableIRQ(EXTI1_IRQn);

}

/* USER CODE BEGIN 4 */
void HAL_SYSTICK_Callback(void) //needed to add HAL_SYSTICK_IRQHandler(); in "stm32f4xx_it.c"" for using the callback
{
	static uint32_t	ReadInputsTimer = 0;
	static uint32_t	BattChargeTimer = 0;
	static uint32_t	ReadBattLevTimer = 0;

	// Check if it is time to read the digital inputs
	ReadInputsTimer++;
	if(ReadInputsTimer >= READ_INPUTS_INTERVAL)
	{
		ReadInputsTimer = 0;
		Time2ReadInputs = 1;
	}

	// Check if it is time to blink the red LED for indicating the battery is in charge
	if(BatteryCharging)
	{
		BattChargeTimer++;
		if(BattChargeTimer >= BATT_CRG_BLK_INTERVAL)
		{
			BattChargeTimer = 0;
			if(LED_RED_IS_ON)
				LEDR_OFF;
			else
				LEDR_ON;
		}
	}

	// Check if it is time for reading the battery level
	ReadBattLevTimer++;
	if(ReadBattLevTimer >= BATT_LEV_READ_INTERVAL)
	{
		ReadBattLevTimer = 0;
		Time2ReadBatLev = 1;
	}
}

void HAL_ADC_ConvHalfCpltCallback(ADC_HandleTypeDef *hadc){

	if(hadc->Instance == ADC2){ //Verificar que la interrupción viene del ADC2

		ADC_DMA_transfer_half = 1;

/*************************************************************
		uint32_t current_tick = HAL_GetTick();
		time_between_interruptions = current_tick - last_tick;
		last_tick = current_tick;
**************************************************************/

	}

}

void HAL_ADC_ConvCpltCallback(ADC_HandleTypeDef *hadc){

	if(hadc->Instance == ADC2){ //Verificar que la interrupción viene del ADC2

		ADC_DMA_transfer_cmplt = 1;

/***************************************************************
		uint32_t current_tick = HAL_GetTick();
		time_between_interruptions = current_tick - last_tick;
		last_tick = current_tick;
****************************************************************/

	}

}

void HAL_TIM_PeriodElapsedCallback(TIM_HandleTypeDef *htim){

    if(htim->Instance == TIM7){ //Verificar que la interrupción viene del TIM7
    	static uint8_t ChanInd = 0;
    	uint8_t	UARTCommand[3];

    	// Sent the UART command to the stimulator microcontroller
    	// | es el operador OR a nivel de bit, combina los bits de todos los parámetros en el mismo comando
    	UARTCommand[0] = STIM_TYPE_CH_DEF | ChanInd | StimType;
    	UARTCommand[1] = STIM_AMPLIT_DEF | StimAmp[ChanInd];
    	UARTCommand[2] = STIM_DURATION_DEF | StimDur;
    	HAL_UART_Transmit(&huart1, UARTCommand, 3, 100);

    	ChanInd++;
    	if(ChanInd >= 2) {
    		ChanInd = 0;
    	}
    }
}

void GetAccel(void){
	float x_aux, y_aux, z_aux;
	float x_volts, y_volts, z_volts;

	if(ADC_DMA_transfer_half == 1){
		ADC_DMA_transfer_half = 0;

		x_aux = ((float)accel_adc_buffer[0]);
		y_aux = ((float)accel_adc_buffer[1]);
		z_aux = ((float)accel_adc_buffer[2]);

		x_volts = (x_aux / adc_res) * vref;
		y_volts = (y_aux / adc_res) * vref;
		z_volts = (z_aux / adc_res) * vref;

		x_accel[idx] = (x_volts - zero_ref)/adxl335_precission;
		y_accel[idx] = (y_volts - zero_ref)/adxl335_precission;
		z_accel[idx] = (z_volts - zero_ref)/adxl335_precission;
	}

	if(ADC_DMA_transfer_cmplt == 1){
		ADC_DMA_transfer_cmplt = 0;

		x_aux = ((float)accel_adc_buffer[(ADC_BUFFER_SIZE)/2 + 0]);
		y_aux = ((float)accel_adc_buffer[(ADC_BUFFER_SIZE)/2 + 1]);
		z_aux = ((float)accel_adc_buffer[(ADC_BUFFER_SIZE)/2 + 2]);

		x_volts = (x_aux / adc_res) * vref;
		y_volts = (y_aux / adc_res) * vref;
		z_volts = (z_aux / adc_res) * vref;

		x_accel[idx] = (x_volts - zero_ref)/adxl335_precission;
		y_accel[idx] = (y_volts - zero_ref)/adxl335_precission;
		z_accel[idx] = (z_volts - zero_ref)/adxl335_precission;
	}
}

void ComputePSD(void){

	/* Copia + ventana Hann (entrada real) */
    for (uint16_t n = 0; n < FFT_SIZE; n++) {
        float32_t w = 0.5f * (1.0f - arm_cos_f32(2.0f * PI * n / (FFT_SIZE - 1)));
        rfft_in[n] = z_accel[n] * w;
    }

    /* FFT rápida real → espectro empaquetado */
    arm_rfft_fast_f32(&S_rfft, rfft_in, rfft_out, 0);   // 0 = forward

    /* |X[k]|² y normalización a PSD */
    const float32_t scale = 1.0f / (ADC_FREQ * FFT_SIZE * hann_U);

    /* DC y Nyquist */
    fft_output[0]           = (rfft_out[0] * rfft_out[0]) * scale;
    fft_output[FFT_SIZE/2]  = (rfft_out[1] * rfft_out[1]) * scale;

    /* bins 1 … N/2-1 (Re,Im intercalados en rfft_out) */
    for (uint16_t k = 1; k < FFT_SIZE/2; k++) {
        float32_t re = rfft_out[2*k];
        float32_t im = rfft_out[2*k + 1];
        fft_output[k] = (re*re + im*im) * scale;
    }

    /*Energía*/
    //float32_t energy = 0.0f;
    energy = 0.0f;
    for (uint16_t k = k_low; k <= k_high; k++) {
        energy += fft_output[k] * freq_res;   // g²
    }

    /* Decisión */
    if(energy > thPSD){
    	tremor = 1;
    	HAL_TIM_Base_Start_IT(&htim7);
    	LEDB_ON;
    }
    else{
    	tremor = 0;
    	HAL_TIM_Base_Stop_IT(&htim7);
    	LEDB_OFF;
    	stim_flag = 0;
    }
}

void CheckStim(void){

	//if(idx==0) return; --> no es necesario ya que como mínimo la 1ª vez que se llame a esta función se tendrán 256 muestras y lo hago modo circular

	float aux_der = 0;
	for(uint8_t i = 0; i<SLIDING_WINDOW_SIZE; i++){
		uint8_t curr_idx = (idx - i + BUFFER_SIZE) % BUFFER_SIZE;
		uint8_t prev_idx = (idx - i - 1 + BUFFER_SIZE) % BUFFER_SIZE;
		aux_der += z_accel[curr_idx] - z_accel[prev_idx];
	}

	der = aux_der/SLIDING_WINDOW_SIZE;

	if(der>TH0_POS){
		slope = POS;
	}
	else if(der<TH0_NEG){
		slope = NEG;
	}
	else{
		slope = FLAT;
	}

	if (slope == FLAT && prev_slope == POS){
		//START STIM IN EXT AND STOP IT IN FLEX (OOP) (bc ext was on and now it stopped and flex it´s going to be on)
		StimAmp[0] = StimAmp_aux[0]; //EXT STIM ON
		StimAmp[1] = 0; //FLEX STIM OFF
		stim_flag = 1;
	}
	else if(slope == FLAT && prev_slope == NEG){
		//START STIM IN FLEX AND STOP IT IN EXT (OOP) (bc flex was on and now it stopped and ext it´s going to be on)
		StimAmp[0] = 0; //EXT STIM ON
		StimAmp[1] = StimAmp_aux[1]; //FLEX STIM OFF
		stim_flag = 2;
	}

	prev_slope = slope;
}

void SendUSB(void){ //cuando hay 16 nuevas muestras las envía [0-15], [16-31]... [240-255]... circular

	static uint8_t usb_tx_buffer[80]; //16*4B + 16*1B
	if (idx >= 16 && (idx % 16 == 0)){ // 16 nuevas muestras llenas

	    memcpy(usb_tx_buffer, &z_accel[idx - 16], 64);   //copia en tx los valores de z_accel desde [idx-16] hasta que haya 64 bytes (o sea 16 valores, 16 * 4B)

	    memcpy(&usb_tx_buffer[64], &stim_array_info[idx - 16], 16);

	    if (CDC_Transmit_FS(usb_tx_buffer, 80) != USBD_OK){   //espera a que quede libre
	    	//Nop();
	    	//while(1);
	    }

	}

/*****Si quiero enviar por USB con los valores ya formateados a ASCII*******

	if (idx >= 16 && (idx % 16 == 0)) {
		char ascii_tx[192];
	    int len = 0;

		for (int i = idx - 16; i < idx; i++){
	    	len += snprintf(ascii_tx + len, sizeof(ascii_tx) - len, "% .3f\r\n", z_accel[i]);
	   	}

		if (CDC_Transmit_FS((uint8_t*)ascii_tx, len) != USBD_OK) {
			//Nop();
	    	//while(1);
	    }
	}

*******************************************************************************/

}

void ReadInputs(void){
	if(CRG_STAT == 0){
		BatteryCharging = 1;
	}
	else{
		BatteryCharging = 0;
		if(!LowBattery)
			LEDR_OFF;
	}

	static uint8_t prev_button_state = 0;
	if(SWITCH && !prev_button_state){

	    uint32_t current_time = HAL_GetTick();
	    if ((current_time - last_exti_time) > debounce_delay) {
	        last_exti_time = current_time;

	        user_button_flag = !user_button_flag;  // alterna ON/OFF

	        if(user_button_flag == 1){
	            // Activar DMA
	            idx = 0; // reinicia para empezar desde cero
	            HAL_ADC_Start_DMA(&hadc2, (uint32_t*)accel_adc_buffer, ADC_BUFFER_SIZE);
	            //LEDB_ON; // opcional: indicador visual
	            SET_TRIG_OUT; //para sincronizar con quatroccento
	        }
	        else{
	            // Desactivar DMA
	            HAL_ADC_Stop_DMA(&hadc2);
	            //LEDB_OFF; // opcional: indicador visual
	            RES_TRIG_OUT;
	            HAL_TIM_Base_Stop_IT(&htim7);
	        }
	    }
	}
	prev_button_state = SWITCH;
}

void ReadBatteryLev(void)
{

	HAL_ADC_Start(&hadc1);  // Inicia una sola conversión
	if (HAL_ADC_PollForConversion(&hadc1, 10) == HAL_OK) {
		ADConv = HAL_ADC_GetValue(&hadc1); // Lee el resultado
	}

	if((ADConv < LOW_BATTERY) && (CRG_STAT == 1))
	{
		LEDR_ON;
		LowBattery = 1;
	}
	else
	{
		LowBattery = 0;
	}
}

/* USER CODE END 4 */

void Error_Handler(void)
{
  __disable_irq();
  while (1)
  {
  }
}
